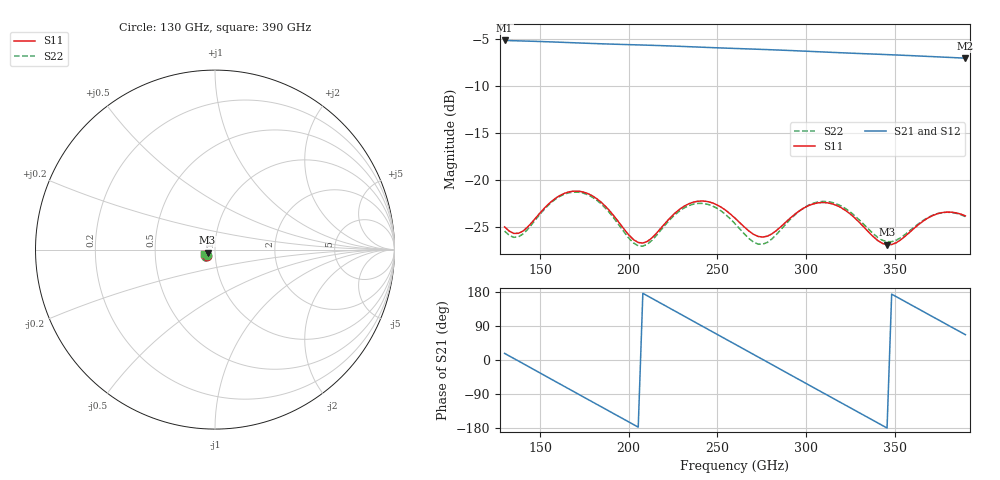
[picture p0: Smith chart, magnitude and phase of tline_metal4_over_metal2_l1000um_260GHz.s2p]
#  GHZ S DB R 50
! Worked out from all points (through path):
!   101 points, 130 GHz to 390 GHz, reference 50 ohm
!   highest |S21| = -5.15 dB at 130 GHz (marker M1); lowest = -7.0 dB at 390 GHz (marker M2)
!   group delay of S21, straight-line fit = 7.17 ps
!   lowest |S11| = -26.9 dB at 345.8 GHz (marker M3), VSWR 1.09, Z = 46 - j1.62 ohm
!   |S11| at or under -10 dB: start of sweep to end of sweep
!   |S22| runs from -27.1 to -21.3 dB; largest |S21 - S12| = 6.3e-14
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130  -25.04 -144.0  -5.15 17.5  -5.15 17.5  -25.48 -143.6
137.8  -25.72 -131.9  -5.19 -2.7  -5.19 -2.7  -26.10 -130.2
148.2  -23.94 -122.1  -5.25 -29.6  -5.25 -29.6  -24.10 -120.4
161.2  -21.69 -130.5  -5.34 -63.2  -5.34 -63.2  -21.78 -129.6
174.2  -21.31 -146.9  -5.44 -96.8  -5.44 -96.8  -21.43 -146.6
184.6  -22.43 -158.7  -5.51 -123.6  -5.51 -123.6  -22.61 -158.7
197.6  -25.32 -161.9  -5.58 -157.1  -5.58 -157.1  -25.63 -161.8
208  -26.76 -146.6  -5.64 176.0  -5.64 176.0  -27.09 -145.5
218.4  -25.13 -134.0  -5.70 149.1  -5.70 149.1  -25.33 -132.8
239.2  -22.30 -146.9  -5.86 95.3  -5.86 95.3  -22.53 -146.7
249.6  -22.67 -157.5  -5.93 68.5  -5.93 68.5  -23.03 -157.6
260  -24.11 -163.4  -6.01 41.7  -6.01 41.7  -24.70 -163.3
273  -26.05 -155.4  -6.09 8.1  -6.09 8.1  -26.87 -152.1
280.8  -25.78 -145.6  -6.15 -12.0  -6.15 -12.0  -26.33 -140.0
304.2  -22.58 -149.5  -6.33 -72.4  -6.33 -72.4  -22.51 -145.2
322.4  -23.29 -166.4  -6.48 -119.3  -6.48 -119.3  -23.09 -163.2
335.4  -25.59 -168.7  -6.58 -152.7  -6.58 -152.7  -25.29 -166.3
345.8  -26.95 -157.0  -6.66 -179.5  -6.66 -179.5  -26.62 -155.9
348.4  -26.92 -153.1  -6.68 173.8  -6.68 173.8  -26.61 -152.4
358.8  -25.57 -143.1  -6.77 147.0  -6.77 147.0  -25.42 -143.0
371.8  -23.81 -146.0  -6.88 113.5  -6.88 113.5  -23.78 -145.9
390  -23.86 -157.4  -7.04 66.7  -7.04 66.7  -23.94 -157.2
